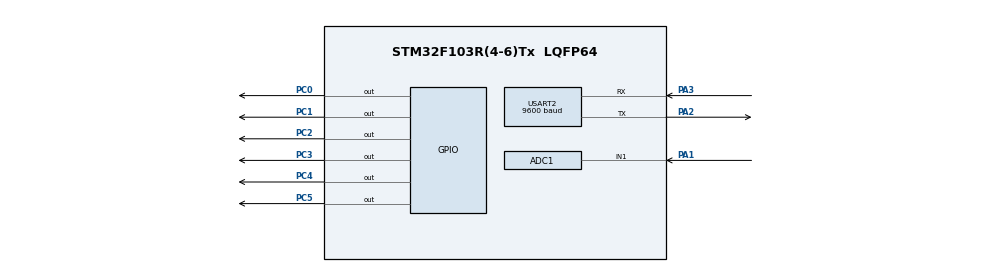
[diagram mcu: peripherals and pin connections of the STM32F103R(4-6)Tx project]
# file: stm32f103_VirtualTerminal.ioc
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ADC1.Channel-0\#ChannelRegularConversion=ADC_CHANNEL_1
ADC1.ContinuousConvMode=ENABLE
ADC1.NbrOfConversionFlag=1
ADC1.Rank-0\#ChannelRegularConversion=1
ADC1.SamplingTime-0\#ChannelRegularConversion=ADC_SAMPLETIME_1CYCLE_5
ADC1.master=1
Mcu.Family=STM32F1
Mcu.Name=STM32F103R(4-6)Tx
Mcu.Package=LQFP64
NVIC.PriorityGroup=NVIC_PRIORITYGROUP_4
PA1.Signal=ADCx_IN1
PA2.Mode=Asynchronous
PA2.Signal=USART2_TX
PA3.Mode=Asynchronous
PA3.Signal=USART2_RX
PC0.Signal=GPIO_Output
PC1.Signal=GPIO_Output
PC14-OSC32_IN.Mode=LSE-External-Oscillator
PC14-OSC32_IN.Signal=RCC_OSC32_IN
PC15-OSC32_OUT.Mode=LSE-External-Oscillator
PC15-OSC32_OUT.Signal=RCC_OSC32_OUT
PC2.Signal=GPIO_Output
PC3.Signal=GPIO_Output
PC4.Signal=GPIO_Output
PC5.Signal=GPIO_Output
PD0-OSC_IN.Mode=HSE-External-Clock-Source
PD0-OSC_IN.Signal=RCC_OSC_IN
PD1-OSC_OUT.Mode=HSE-External-Clock-Source
PD1-OSC_OUT.Signal=RCC_OSC_OUT
ProjectManager.HeapSize=0x200
ProjectManager.StackSize=0x400
ProjectManager.TargetToolchain=STM32CubeIDE
RCC.APB1Freq_Value=8000000
RCC.APB2Freq_Value=8000000
SH.ADCx_IN1.0=ADC1_IN1,IN1
USART2.BaudRate=9600
USART2.VirtualMode=VM_ASYNC
VP_SYS_VS_ND.Mode=No_Debug
board=custom

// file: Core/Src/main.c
/* USER CODE BEGIN Header */
/**
  ******************************************************************************
  * @file           : main.c
  * @brief          : Main program body
  ******************************************************************************
  * @attention
  *
  * Copyright (c) 2024 STMicroelectronics.
  * All rights reserved.
  *
  * This software is licensed under terms that can be found in the LICENSE file
  * in the root directory of this software component.
  * If no LICENSE file comes with this software, it is provided AS-IS.
  *
  ******************************************************************************
  */
/* USER CODE END Header */
#include "main.h"

/* USER CODE BEGIN Includes */
#include <stdio.h>
#include <string.h>
#include "lcd.h"
/* USER CODE END Includes */

/* USER CODE BEGIN PTD */
float Read_Temperature(void);
/* USER CODE END PTD */

ADC_HandleTypeDef hadc1;

UART_HandleTypeDef huart2;

void SystemClock_Config(void);
static void MX_GPIO_Init(void);
static void MX_ADC1_Init(void);
static void MX_USART2_UART_Init(void);

/* USER CODE BEGIN 0 */
uint32_t adc_val1 = 0;
/* USER CODE END 0 */

int main(void)
{

  /* MCU Configuration--------------------------------------------------------*/

  /* Reset of all peripherals, Initializes the Flash interface and the Systick. */
  HAL_Init();

  /* Configure the system clock */
  SystemClock_Config();

  /* Initialize all configured peripherals */
  MX_GPIO_Init();
  MX_ADC1_Init();
  MX_USART2_UART_Init();
  /* USER CODE BEGIN 2 */
  Lcd_PortType ports[] = { GPIOC, GPIOC, GPIOC, GPIOC };
  Lcd_PinType pins[] = {GPIO_PIN_0, GPIO_PIN_1, GPIO_PIN_2, GPIO_PIN_3};
  Lcd_HandleTypeDef lcd;
  lcd = Lcd_create(ports, pins, GPIOC, GPIO_PIN_4, GPIOC, GPIO_PIN_5, LCD_4_BIT_MODE);

  Lcd_cursor(&lcd, 0,5);
  Lcd_string(&lcd, "WELCOME");
  Lcd_cursor(&lcd, 1,0);
  Lcd_string(&lcd, "CMTEQ   Channel");
  Lcd_cursor(&lcd, 2,8);
  Lcd_string(&lcd, "PLEASE");
  Lcd_cursor(&lcd, 3,0);
  Lcd_string(&lcd, "SUBSCRIBE AND LIKE");

      for ( int x = 1; x <= 5 ; x++ )
      {
        Lcd_cursor(&lcd, 1,6);
        Lcd_int(&lcd, x);
        HAL_Delay (1000);
      }
  Lcd_clear(&lcd);
  char msg[30];
  /* USER CODE END 2 */

  /* Infinite loop */
  while (1)
  {

    /* USER CODE BEGIN 3 */
	  float temp = Read_Temperature();
	  Lcd_cursor(&lcd, 1,0);
	  Lcd_string(&lcd, "Temperature:");
	  Lcd_cursor(&lcd, 1,13);
	  display_int_on_lcd(&lcd, temp);

      sprintf(msg, "Temperature: %.2f C\r\n", temp);
      HAL_UART_Transmit(&huart2, (uint8_t*)msg, strlen(msg), HAL_MAX_DELAY);

  }
  /* USER CODE END 3 */
}

void SystemClock_Config(void)
{
  RCC_OscInitTypeDef RCC_OscInitStruct = {0};
  RCC_ClkInitTypeDef RCC_ClkInitStruct = {0};
  RCC_PeriphCLKInitTypeDef PeriphClkInit = {0};

  /** Initializes the RCC Oscillators according to the specified parameters
  * in the RCC_OscInitTypeDef structure.
  */
  RCC_OscInitStruct.OscillatorType = RCC_OSCILLATORTYPE_HSI;
  RCC_OscInitStruct.HSIState = RCC_HSI_ON;
  RCC_OscInitStruct.HSICalibrationValue = RCC_HSICALIBRATION_DEFAULT;
  RCC_OscInitStruct.PLL.PLLState = RCC_PLL_NONE;
  if (HAL_RCC_OscConfig(&RCC_OscInitStruct) != HAL_OK)
  {
    Error_Handler();
  }

  /** Initializes the CPU, AHB and APB buses clocks
  */
  RCC_ClkInitStruct.ClockType = RCC_CLOCKTYPE_HCLK|RCC_CLOCKTYPE_SYSCLK
                              |RCC_CLOCKTYPE_PCLK1|RCC_CLOCKTYPE_PCLK2;
  RCC_ClkInitStruct.SYSCLKSource = RCC_SYSCLKSOURCE_HSI;
  RCC_ClkInitStruct.AHBCLKDivider = RCC_SYSCLK_DIV1;
  RCC_ClkInitStruct.APB1CLKDivider = RCC_HCLK_DIV1;
  RCC_ClkInitStruct.APB2CLKDivider = RCC_HCLK_DIV1;

  if (HAL_RCC_ClockConfig(&RCC_ClkInitStruct, FLASH_LATENCY_0) != HAL_OK)
  {
    Error_Handler();
  }
  PeriphClkInit.PeriphClockSelection = RCC_PERIPHCLK_ADC;
  PeriphClkInit.AdcClockSelection = RCC_ADCPCLK2_DIV2;
  if (HAL_RCCEx_PeriphCLKConfig(&PeriphClkInit) != HAL_OK)
  {
    Error_Handler();
  }
}

static void MX_ADC1_Init(void)
{

  ADC_ChannelConfTypeDef sConfig = {0};

  /** Common config
  */
  hadc1.Instance = ADC1;
  hadc1.Init.ScanConvMode = ADC_SCAN_DISABLE;
  hadc1.Init.ContinuousConvMode = ENABLE;
  hadc1.Init.DiscontinuousConvMode = DISABLE;
  hadc1.Init.ExternalTrigConv = ADC_SOFTWARE_START;
  hadc1.Init.DataAlign = ADC_DATAALIGN_RIGHT;
  hadc1.Init.NbrOfConversion = 1;
  if (HAL_ADC_Init(&hadc1) != HAL_OK)
  {
    Error_Handler();
  }

  /** Configure Regular Channel
  */
  sConfig.Channel = ADC_CHANNEL_1;
  sConfig.Rank = ADC_REGULAR_RANK_1;
  sConfig.SamplingTime = ADC_SAMPLETIME_1CYCLE_5;
  if (HAL_ADC_ConfigChannel(&hadc1, &sConfig) != HAL_OK)
  {
    Error_Handler();
  }

}

static void MX_USART2_UART_Init(void)
{

  huart2.Instance = USART2;
  huart2.Init.BaudRate = 9600;
  huart2.Init.WordLength = UART_WORDLENGTH_8B;
  huart2.Init.StopBits = UART_STOPBITS_1;
  huart2.Init.Parity = UART_PARITY_NONE;
  huart2.Init.Mode = UART_MODE_TX_RX;
  huart2.Init.HwFlowCtl = UART_HWCONTROL_NONE;
  huart2.Init.OverSampling = UART_OVERSAMPLING_16;
  if (HAL_UART_Init(&huart2) != HAL_OK)
  {
    Error_Handler();
  }

}

static void MX_GPIO_Init(void)
{
  GPIO_InitTypeDef GPIO_InitStruct = {0};

  /* GPIO Ports Clock Enable */
  __HAL_RCC_GPIOC_CLK_ENABLE();
  __HAL_RCC_GPIOD_CLK_ENABLE();
  __HAL_RCC_GPIOA_CLK_ENABLE();

  /*Configure GPIO pin Output Level */
  HAL_GPIO_WritePin(GPIOC, GPIO_PIN_0|GPIO_PIN_1|GPIO_PIN_2|GPIO_PIN_3
                          |GPIO_PIN_4|GPIO_PIN_5, GPIO_PIN_RESET);

  /*Configure GPIO pins : PC0 PC1 PC2 PC3
                           PC4 PC5 */
  GPIO_InitStruct.Pin = GPIO_PIN_0|GPIO_PIN_1|GPIO_PIN_2|GPIO_PIN_3
                          |GPIO_PIN_4|GPIO_PIN_5;
  GPIO_InitStruct.Mode = GPIO_MODE_OUTPUT_PP;
  GPIO_InitStruct.Pull = GPIO_NOPULL;
  GPIO_InitStruct.Speed = GPIO_SPEED_FREQ_LOW;
  HAL_GPIO_Init(GPIOC, &GPIO_InitStruct);

}

/* USER CODE BEGIN 4 */
float Read_Temperature(void)
{
    HAL_ADC_Start(&hadc1);
    HAL_ADC_PollForConversion(&hadc1, HAL_MAX_DELAY);
    adc_val1 = HAL_ADC_GetValue(&hadc1);

    float voltage = (adc_val1 * 5.0) / 4096.0;
    float temperature = (voltage - 0.5) * 100.0;
    return temperature;
}
/* USER CODE END 4 */

void Error_Handler(void)
{
  __disable_irq();
  while (1)
  {
  }
}
